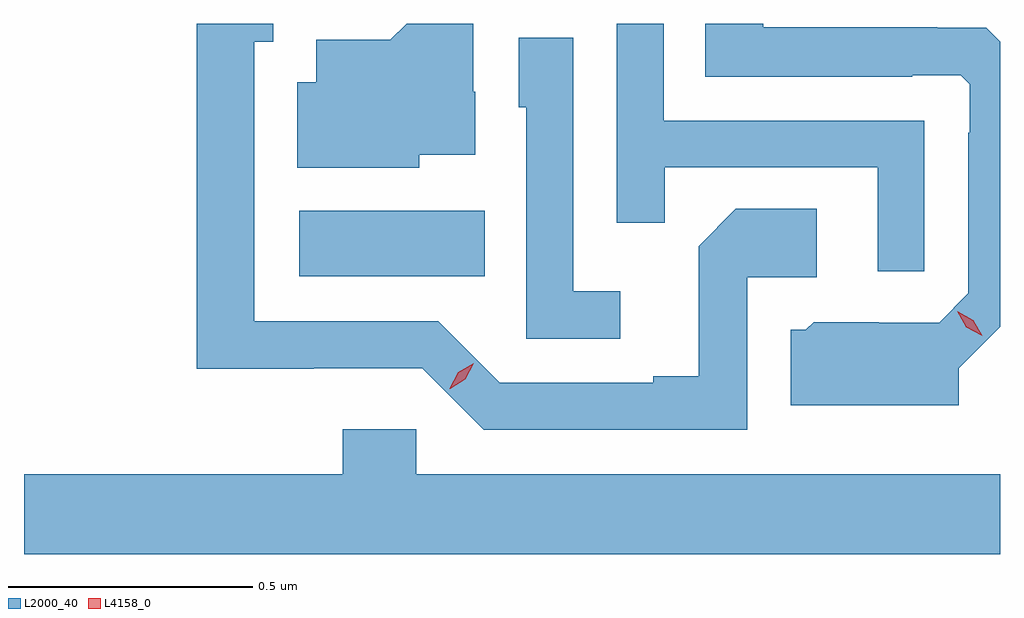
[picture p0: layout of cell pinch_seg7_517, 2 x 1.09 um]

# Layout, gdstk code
import gdstk
lib = gdstk.Library(unit=1e-6, precision=1e-09)
def R(c, l, rs):  # rectangles x0, y0, x1, y1
    for r in rs: c.add(gdstk.rectangle(r[:2], r[2:], *l))
def P(c, l, *ps):  # polygons
    for p in ps: c.add(gdstk.Polygon(p, *l))
L2000_40 = (2000, 40)
L4158_0 = (4158, 0)

pinch_seg7_517 = lib.new_cell('pinch_seg7_517')
R(pinch_seg7_517, L2000_40, [(165.792,1078.442,166.172,1078.576)])
P(pinch_seg7_517, L2000_40, [(166.038,1078.691),(166.153,1078.691),(166.153,1078.82),(166.149,1078.82),(166.149,1078.96),(166.012,1078.96),(165.979,1078.927),(165.827,1078.927),(165.827,1078.84),(165.788,1078.84),(165.788,1078.664),(166.038,1078.664)],
  [(167.073,1078.761),(166.539,1078.761),(166.539,1078.96),(166.443,1078.96),(166.443,1078.552),(166.541,1078.552),(166.541,1078.665),(166.977,1078.665),(166.977,1078.452),(167.073,1078.452)],
  [(167.143,1078.254),(167.228,1078.339),(167.228,1078.923),(167.2,1078.951),(167.099,1078.951),(167.099,1078.952),(166.743,1078.952),(166.743,1078.96),(166.624,1078.96),(166.624,1078.851),(167.048,1078.851),(167.048,1078.854),(167.148,1078.854),(167.166,1078.836),(167.166,1078.736),(167.163,1078.736),(167.163,1078.407),(167.103,1078.347),(166.98,1078.347),(166.98,1078.348),(166.846,1078.348),(166.83,1078.332),(166.799,1078.332),(166.799,1078.178),(167.143,1078.178)],
  [(166.71,1078.44),(166.852,1078.44),(166.852,1078.58),(166.687,1078.58),(166.611,1078.504),(166.611,1078.237),(166.517,1078.237),(166.517,1078.224),(166.203,1078.224),(166.077,1078.35),(165.7,1078.35),(165.7,1078.923),(165.739,1078.923),(165.739,1078.96),(165.582,1078.96),(165.582,1078.253),(165.822,1078.253),(165.822,1078.254),(166.044,1078.254),(166.17,1078.128),(166.71,1078.128)],
  [(166.45,1078.411),(166.353,1078.411),(166.353,1078.931),(166.242,1078.931),(166.242,1078.788),(166.257,1078.788),(166.257,1078.314),(166.45,1078.314)],
  [(167.228,1078.036),(166.032,1078.036),(166.032,1078.129),(165.881,1078.129),(165.881,1078.036),(165.228,1078.036),(165.228,1077.872),(167.228,1077.872)])
P(pinch_seg7_517, L4158_0, [(166.1,1078.212),(166.1,1078.213),(166.118,1078.245),(166.15,1078.264),(166.15,1078.264),(166.15,1078.264),(166.132,1078.231),(166.101,1078.212)],
  [(167.192,1078.32),(167.159,1078.338),(167.14,1078.37),(167.14,1078.37),(167.14,1078.37),(167.173,1078.352),(167.192,1078.32),(167.192,1078.32)])

lib.write_gds('pinch_seg7_517.gds')
